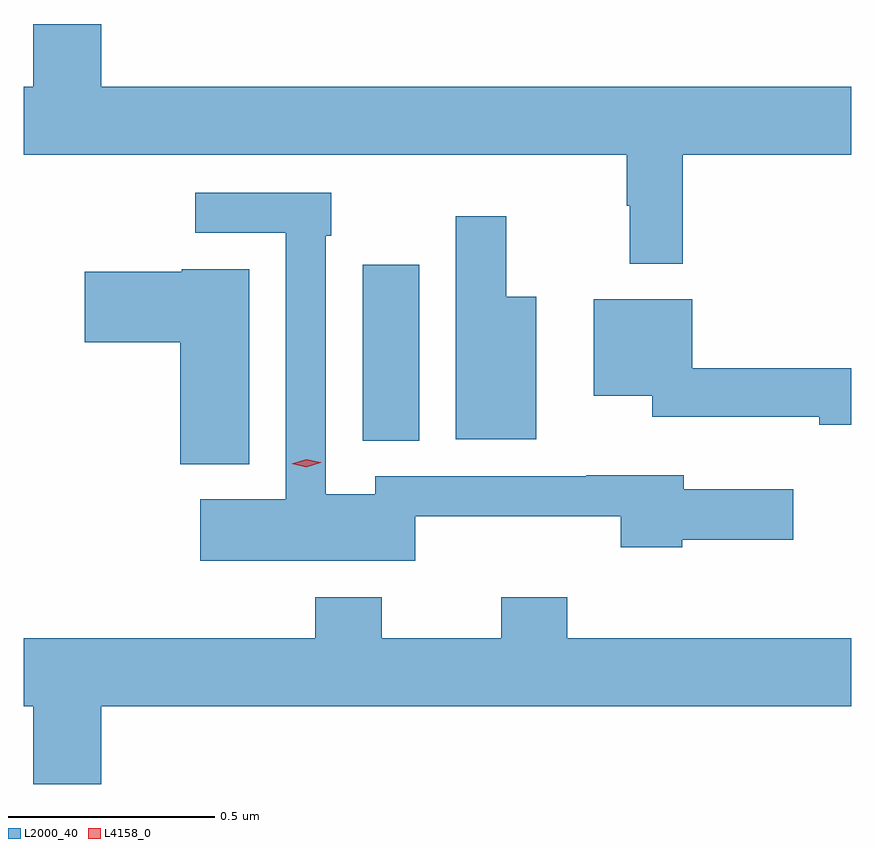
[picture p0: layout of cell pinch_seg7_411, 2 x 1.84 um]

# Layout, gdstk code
import gdstk
lib = gdstk.Library(unit=1e-6, precision=1e-09)
def R(c, l, rs):  # rectangles x0, y0, x1, y1
    for r in rs: c.add(gdstk.rectangle(r[:2], r[2:], *l))
def P(c, l, *ps):  # polygons
    for p in ps: c.add(gdstk.Polygon(p, *l))
L2000_40 = (2000, 40)
L4158_0 = (4158, 0)

pinch_seg7_411 = lib.new_cell('pinch_seg7_411')
R(pinch_seg7_411, L2000_40, [(501.467,1025.233,501.604,1025.659)])
P(pinch_seg7_411, L2000_40, [(502.241,1025.924),(502.648,1025.924),(502.648,1026.088),(500.836,1026.088),(500.836,1026.24),(500.672,1026.24),(500.672,1026.088),(500.648,1026.088),(500.648,1025.924),(502.105,1025.924),(502.105,1025.801),(502.113,1025.801),(502.113,1025.661),(502.241,1025.661)],
  [(501.594,1025.051),(502.091,1025.051),(502.091,1024.976),(502.239,1024.976),(502.239,1024.994),(502.507,1024.994),(502.507,1025.116),(502.243,1025.116),(502.243,1025.15),(502.007,1025.15),(502.007,1025.148),(501.498,1025.148),(501.498,1025.104),(501.378,1025.104),(501.378,1025.729),(501.391,1025.729),(501.391,1025.832),(501.063,1025.832),(501.063,1025.736),(501.282,1025.736),(501.282,1025.092),(501.075,1025.092),(501.075,1024.943),(501.594,1024.943)],
  [(501.886,1025.581),(501.814,1025.581),(501.814,1025.776),(501.692,1025.776),(501.692,1025.237),(501.886,1025.237)],
  [(501.193,1025.647),(501.03,1025.647),(501.03,1025.641),(500.796,1025.641),(500.796,1025.471),(501.026,1025.471),(501.026,1025.177),(501.193,1025.177)],
  [(502.648,1025.408),(502.263,1025.408),(502.263,1025.575),(502.025,1025.575),(502.025,1025.342),(502.167,1025.342),(502.167,1025.291),(502.57,1025.291),(502.57,1025.272),(502.648,1025.272)],
  [(500.836,1024.592),(502.648,1024.592),(502.648,1024.756),(501.962,1024.756),(501.962,1024.855),(501.802,1024.855),(501.802,1024.756),(501.513,1024.756),(501.513,1024.855),(501.353,1024.855),(501.353,1024.756),(500.648,1024.756),(500.648,1024.592),(500.672,1024.592),(500.672,1024.404),(500.836,1024.404)])
P(pinch_seg7_411, L4158_0, [(501.331,1025.169),(501.296,1025.178),(501.296,1025.178),(501.296,1025.178),(501.331,1025.189),(501.366,1025.181),(501.366,1025.181),(501.366,1025.18)])

lib.write_gds('pinch_seg7_411.gds')
